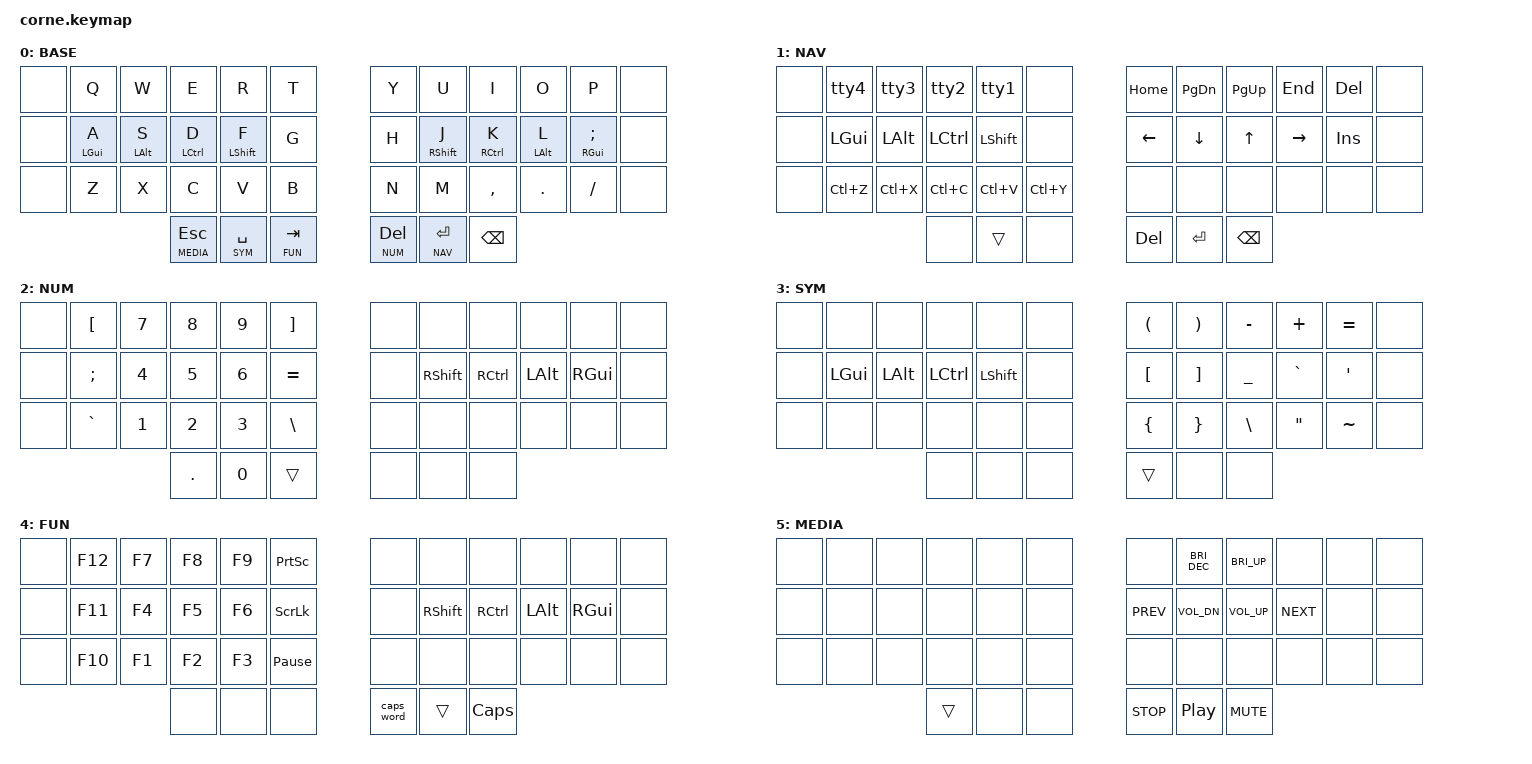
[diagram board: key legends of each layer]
#include <behaviors.dtsi>
#include <dt-bindings/zmk/keys.h>

#define BASE 0
#define NAV  1
#define NUM  2
#define SYM  3
#define FUN  4
#define MEDIA 5

/ {
    behaviors {
        hm: homerow_mods {
            compatible = "zmk,behavior-hold-tap";
            #binding-cells = <2>;
            tapping-term-ms = <200>;
            quick-tap-ms = <0>;
            flavor = "tap-preferred";
            bindings = <&kp>, <&kp>;
        };

        ltr: layer_tap_repeat {
            compatible = "zmk,behavior-hold-tap";
            #binding-cells = <2>;
            tapping-term-ms = <200>;
            quick-tap-ms = <200>;
            flavor = "tap-preferred";
            bindings = <&mo>, <&kp>;
        };
    };

    macros {
        tty1: tty1 {
            compatible = "zmk,behavior-macro";
            #binding-cells = <0>;
            bindings =
                <&macro_press>,
                <&kp LEFT_CONTROL &kp LEFT_ALT>,
                <&macro_tap>,
                <&kp F1>,
                <&macro_release>,
                <&kp LEFT_CONTROL &kp LEFT_ALT>;

            label = "TTY1";
        };

        tty2: tty2 {
            compatible = "zmk,behavior-macro";
            #binding-cells = <0>;
            bindings =
                <&macro_press>,
                <&kp LEFT_CONTROL &kp LEFT_ALT>,
                <&macro_tap>,
                <&kp F2>,
                <&macro_release>,
                <&kp LEFT_CONTROL &kp LEFT_ALT>;

            label = "TTY2";
        };

        tty3: new_macro {
            compatible = "zmk,behavior-macro";
            #binding-cells = <0>;
            bindings =
                <&macro_press>,
                <&kp LEFT_CONTROL &kp LEFT_ALT>,
                <&macro_tap>,
                <&kp F3>,
                <&macro_release>,
                <&kp LEFT_CONTROL &kp LEFT_ALT>;

            label = "NEW_MACRO";
        };

        tty4: tty4 {
            compatible = "zmk,behavior-macro";
            #binding-cells = <0>;
            bindings =
                <&macro_press>,
                <&kp LEFT_CONTROL &kp LEFT_ALT>,
                <&macro_tap>,
                <&kp F4>,
                <&macro_release>,
                <&kp LEFT_CONTROL &kp LEFT_ALT>;

            label = "TTY4";
        };
    };

    keymap {
        compatible = "zmk,keymap";

        base_layer {
            label = "BASE";
            bindings = <
&none  &kp Q       &kp W       &kp E          &kp R          &kp T          &kp Y        &kp U          &kp I        &kp O       &kp P          &none
&none  &hm LGUI A  &hm LALT S  &hm LCTRL D    &hm LSHFT F    &kp G          &kp H        &hm RSHFT J    &hm RCTRL K  &hm LALT L  &hm RGUI SEMI  &none
&none  &kp Z       &kp X       &kp C          &kp V          &kp B          &kp N        &kp M          &kp COMMA    &kp DOT     &kp FSLH       &none
                               &lt MEDIA ESC  &lt SYM SPACE  &lt FUN TAB    &lt NUM DEL  &lt NAV ENTER  &kp BKSP
            >;
        };

        nav_layer {
            label = "NAV";
            bindings = <
&none  &tty4      &tty3      &tty2      &tty1      &none        &kp HOME  &kp PG_DN  &kp PG_UP  &kp END    &kp DEL  &none
&none  &kp LGUI   &kp LALT   &kp LCTRL  &kp LSHFT  &none        &kp LEFT  &kp DOWN   &kp UP     &kp RIGHT  &kp INS  &none
&none  &kp LC(Z)  &kp LC(X)  &kp LC(C)  &kp LC(V)  &kp LC(Y)    &none     &none      &none      &none      &none    &none
                             &none      &trans     &none        &kp DEL   &kp ENTER  &kp BKSP
            >;
        };

        num_layer {
            label = "NUM";
            bindings = <
&none  &kp LBKT   &kp N7  &kp N8   &kp N9  &kp RBKT     &none  &none      &none      &none     &none     &none
&none  &kp SEMI   &kp N4  &kp N5   &kp N6  &kp EQUAL    &none  &kp RSHFT  &kp RCTRL  &kp LALT  &kp RGUI  &none
&none  &kp GRAVE  &kp N1  &kp N2   &kp N3  &kp BSLH     &none  &none      &none      &none     &none     &none
                          &kp DOT  &kp N0  &trans       &none  &none      &none
            >;
        };

        sym_layer {
            label = "SYM";
            bindings = <
&none  &none     &none     &none      &none      &none    &kp LPAR  &kp RPAR  &kp MINUS  &kp PLUS   &kp EQUAL  &none
&none  &kp LGUI  &kp LALT  &kp LCTRL  &kp LSHFT  &none    &kp LBKT  &kp RBKT  &kp UNDER  &kp GRAVE  &kp SQT    &none
&none  &none     &none     &none      &none      &none    &kp LBRC  &kp RBRC  &kp BSLH   &kp DQT    &kp TILDE  &none
                           &none      &none      &none    &trans    &none     &none
            >;
        };

        fun_layer {
            label = "FUN";
            bindings = <
&none  &kp F12  &kp F7  &kp F8  &kp F9  &kp PSCRN          &none       &none      &none      &none     &none     &none
&none  &kp F11  &kp F4  &kp F5  &kp F6  &kp SLCK           &none       &kp RSHFT  &kp RCTRL  &kp LALT  &kp RGUI  &none
&none  &kp F10  &kp F1  &kp F2  &kp F3  &kp PAUSE_BREAK    &none       &none      &none      &none     &none     &none
                        &none   &none   &none              &caps_word  &trans     &kp CAPS
            >;
        };

        media_layer {
            label = "MEDIA";
            bindings = <
&none  &none  &none  &none   &none  &none    &none       &kp C_BRI_DEC  &kp C_BRI_UP  &none       &none  &none
&none  &none  &none  &none   &none  &none    &kp C_PREV  &kp C_VOL_DN   &kp C_VOL_UP  &kp C_NEXT  &none  &none
&none  &none  &none  &none   &none  &none    &none       &none          &none         &none       &none  &none
                     &trans  &none  &none    &kp C_STOP  &kp C_PP       &kp C_MUTE
            >;
        };
    };
};
